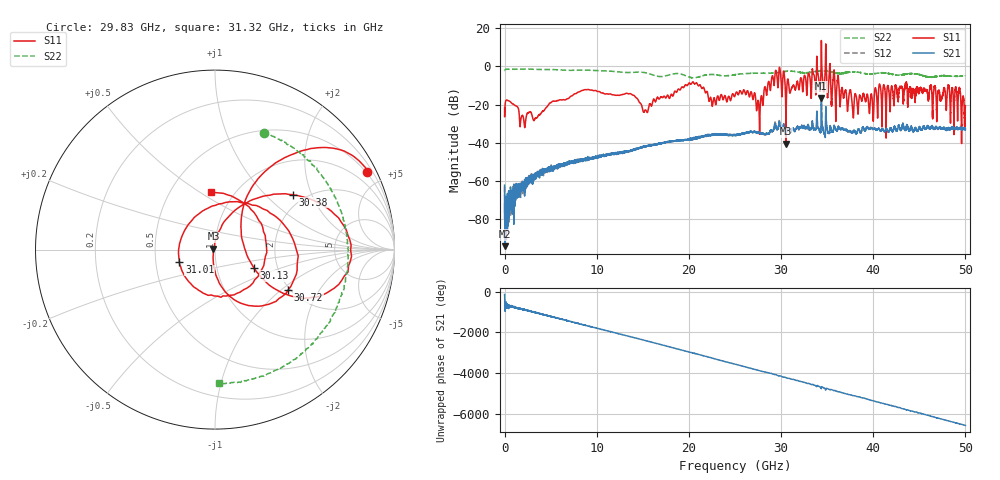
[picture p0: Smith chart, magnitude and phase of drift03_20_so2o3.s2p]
!Created with skrf (http://scikit-rf.org).
# Hz S RI R 50.0
!freq ReS11 ImS11 ReS21 ImS21 ReS12 ImS12 ReS22 ImS22
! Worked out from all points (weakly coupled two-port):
!   10001 points, 300 kHz to 50 GHz, reference 50 ohm
!   highest |S21| = -16.76 dB at 34.37 GHz (marker M1); lowest = -94.1 dB at 50.3 MHz (marker M2)
!   lowest |S11| = -40.4 dB at 30.53 GHz (marker M3), VSWR 1.02, Z = 49.2 + j0.438 ohm
!   |S11| at or under -10 dB: start of sweep to 19.55 GHz; 21.25 GHz to 28.55 GHz (7.297 GHz wide, 29.3 % of centre); 36.28 GHz to 40.63 GHz (4.344 GHz wide, 11.3 % of centre) (the widest 3 of 41)
!   |S22| runs from -5.9 to -1.3 dB; largest |S21 - S12| = 0.026
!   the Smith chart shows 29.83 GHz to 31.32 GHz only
!   S11 on the Smith chart (normalised r, x): 29.83 GHz: 0.47, +4.11; 30.13 GHz: 1.51, -0.33; 30.38 GHz: 1.73, +1.48; 30.72 GHz: 1.95, -1.12; 31.01 GHz: 0.66, -0.10; 31.32 GHz: 0.78, +0.56
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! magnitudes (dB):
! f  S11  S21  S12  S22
! 300 kHz  -21.6  -62.2  -63.0  -2.1
! 50.3 MHz  -20.4  -94.1  -77.6  -1.6
! 3.305 GHz  -27.3  -57.3  -56.9  -1.5
! 8.335 GHz  -12.6  -49.5  -49.1  -1.9
! 15.29 GHz  -22.8  -41.6  -41.8  -3.3
! 16.67 GHz  -16.5  -40.7  -40.5  -5.2
! 20.26 GHz  -9.2  -37.8  -37.7  -5.9
! 22.71 GHz  -16.4  -35.6  -35.6  -4.2
! 25 GHz  -15.3  -35.7  -35.9  -4.3
! 27.53 GHz  -17.8  -34.6  -34.4  -3.5
! 29.83 GHz  -0.5  -29.3  -28.6  -3.0
! 30.13 GHz  -12.4  -33.4  -33.4  -2.8
! 30.38 GHz  -5.5  -32.1  -32.4  -2.6
! 30.53 GHz  -40.4  -33.9  -34.0  -2.6
! 30.72 GHz  -6.6  -32.9  -32.9  -2.5
! 31.01 GHz  -13.5  -34.2  -34.2  -2.4
! 31.32 GHz  -9.9  -32.6  -32.4  -2.6
! 33.34 GHz  -7.5  -31.5  -31.4  -2.9
! 34.37 GHz  13.6  -16.8  -18.3  -2.3
! 37.85 GHz  -27.0  -33.8  -34.2  -2.9
! 41.67 GHz  -11.8  -34.1  -34.2  -3.7
! 50 GHz  -20.5  -32.7  -32.6  -5.0
